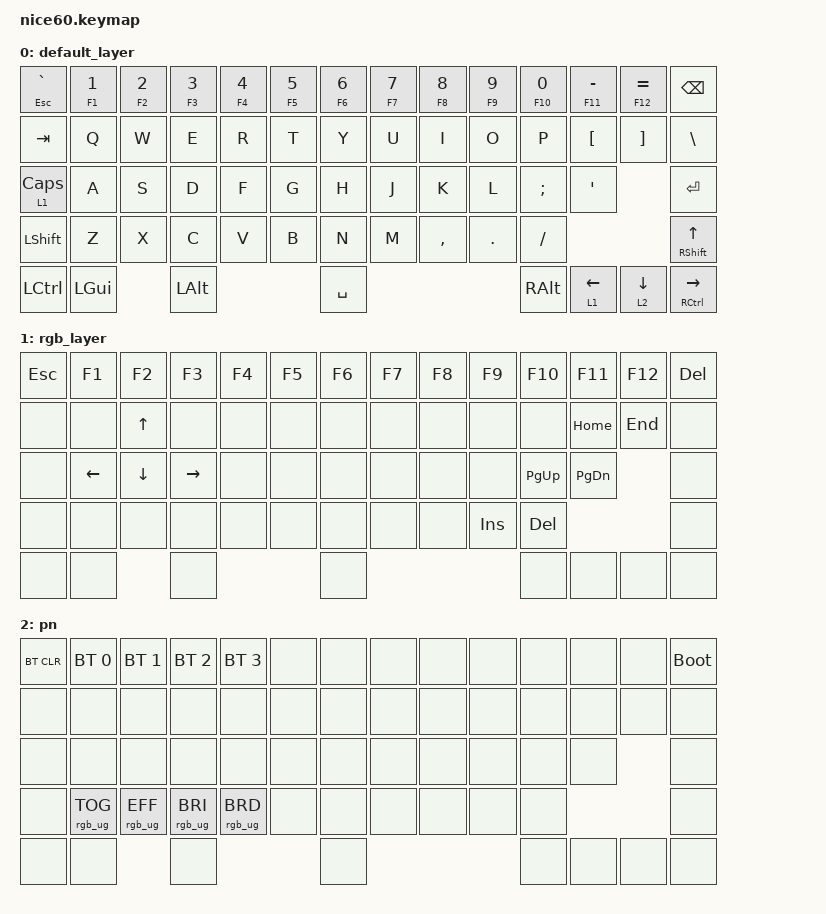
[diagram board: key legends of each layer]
/*
 * Copyright (c) 2021 Nick Winans
 *
 * SPDX-License-Identifier: MIT
 */

#include <behaviors.dtsi>
#include <dt-bindings/zmk/bt.h>
#include <dt-bindings/zmk/keys.h>
#include <dt-bindings/zmk/rgb.h>

&mt { tapping-term-ms = <300>; };

/ {
    combos {
        compatible = "zmk,combos";

        lay0 {
            bindings = <&to 0>;
            key-positions = <57 54>;
            timeout-ms = <2000>;
            require-prior-idle-ms = <500>;
        };

        lay1 {
            bindings = <&to 1>;
            key-positions = <58 54>;
            timeout-ms = <2000>;
            require-prior-idle-ms = <500>;
        };

        lay2 {
            bindings = <&to 2>;
            key-positions = <59 54>;
            timeout-ms = <2000>;
            require-prior-idle-ms = <500>;
        };
    };

    keymap {
        compatible = "zmk,keymap";

        default_layer {
            // ------------------------------------------------------------------------------------------
            // | ESC |  1  |  2  |  3  |  4  |  5  |  6  |  7  |  8  |  9  |  0  |  -  |  =  |   BKSP   |
            // | TAB  |  Q  |  W  |  E  |  R  |  T  |  Y  |  U  |  I  |  O  |  P  |  [  |  ]  |   "|"   |
            // | CAPS  |  A  |  S  |  D  |  F  |  G  |  H  |  J  |  K  |  L  |  ;  |  '  |     ENTER    |
            // |  SHIFT  |  Z  |  X  |  C  |  V  |  B  |  N  |  M  |  ,  |  .  |  /  |      SHIFT       |
            // |  CTL  |  WIN  |  ALT  |            SPACE              |  ALT  |  WIN  |  MO(1) |  CTL  |
            // ------------------------------------------------------------------------------------------

            bindings = <
&mt ESC GRAVE  &mt F1 N1  &mt F2 N2  &mt F3 N3  &mt F4 N4  &mt F5 N5  &mt F6 N6  &mt F7 N7  &mt F8 N8  &mt F9 N9  &mt F10 N0  &mt F11 MINUS  &mt F12 EQUAL  &kp BSPC
&kp TAB        &kp Q      &kp W      &kp E      &kp R      &kp T      &kp Y      &kp U      &kp I      &kp O      &kp P       &kp LBKT       &kp RBKT       &kp BSLH
&lt 1 CAPS     &kp A      &kp S      &kp D      &kp F      &kp G      &kp H      &kp J      &kp K      &kp L      &kp SEMI    &kp SQT                       &kp RET
&kp LSHFT      &kp Z      &kp X      &kp C      &kp V      &kp B      &kp N      &kp M      &kp COMMA  &kp DOT    &kp FSLH                                  &mt RSHFT UP
&kp LCTRL      &kp LGUI              &kp LALT                         &kp SPACE                                   &kp RALT    &lt 1 LEFT     &lt 2 DOWN     &mt RCTRL RIGHT
            >;
        };

        rgb_layer {
            // ------------------------------------------------------------------------------------------------
            // | BT CLR | F1  | F2  | F3  | F4  | F5  | F6  | F7  | F8  | F9  | F10  | F11 | F12 | EFFECT REV |
            // |  BT 1   |   |  UP |   | HUEUP | SATUP | BRIUP | SPDUP |   |     |    |     |     |           |
            // |   BT 2   | LT |  DN  | RT | HUEDN | SATDN | BRIDN | SPDDN |   |     |   |     |  EFFECT FORW |
            // |    BT 3     |     |      |      |     |     |     |     |     |     |     |                  |
            // |   BT 4  |      |      |             TOG RGB                | PRT SCR |       |       |  DEL  |
            // ------------------------------------------------------------------------------------------------

            bindings = <
&kp ESC  &kp F1    &kp F2        &kp F3     &kp F4  &kp F5  &kp F6  &kp F7  &kp F8  &kp F9      &kp F10      &kp F11        &kp F12  &kp DELETE
&none    &none     &kp UP_ARROW  &none      &none   &none   &none   &none   &none   &none       &none        &kp HOME       &kp END  &none
&none    &kp LEFT  &kp DOWN      &kp RIGHT  &none   &none   &none   &none   &none   &none       &kp PAGE_UP  &kp PAGE_DOWN           &none
&none    &none     &none         &none      &none   &none   &none   &none   &none   &kp INSERT  &kp DEL                              &none
&none    &none                   &none                      &none                               &none        &none          &none    &none
            >;
        };

        pn {
            // ------------------------------------------------------------------------------------------------
            // | BT CLR | F1  | F2  | F3  | F4  | F5  | F6  | F7  | F8  | F9  | F10  | F11 | F12 | EFFECT REV |
            // |  BT 1   |   |  UP |   | HUEUP | SATUP | BRIUP | SPDUP |   |     |    |     |     |           |
            // |   BT 2   | LT |  DN  | RT | HUEDN | SATDN | BRIDN | SPDDN |   |     |   |     |  EFFECT FORW |
            // |    BT 3     |     |      |      |     |     |     |     |     |     |     |                  |
            // |   BT 4  |      |      |             TOG RGB                | PRT SCR |       |       |  DEL  |
            // ------------------------------------------------------------------------------------------------

            bindings = <
&bt BT_CLR  &bt BT_SEL 0     &bt BT_SEL 1     &bt BT_SEL 2     &bt BT_SEL 3     &none  &none  &none  &none  &none  &none  &none  &none  &bootloader
&none       &none            &none            &none            &none            &none  &none  &none  &none  &none  &none  &none  &none  &none
&none       &none            &none            &none            &none            &none  &none  &none  &none  &none  &none  &none         &none
&none       &rgb_ug RGB_TOG  &rgb_ug RGB_EFF  &rgb_ug RGB_BRI  &rgb_ug RGB_BRD  &none  &none  &none  &none  &none  &none                &none
&none       &none                             &none                                    &none                       &none  &none  &none  &none
            >;
        };
    };
};
